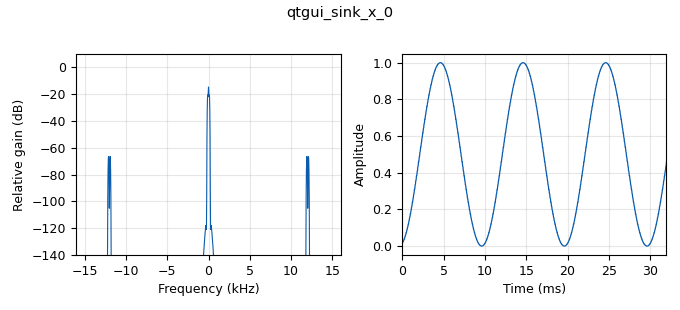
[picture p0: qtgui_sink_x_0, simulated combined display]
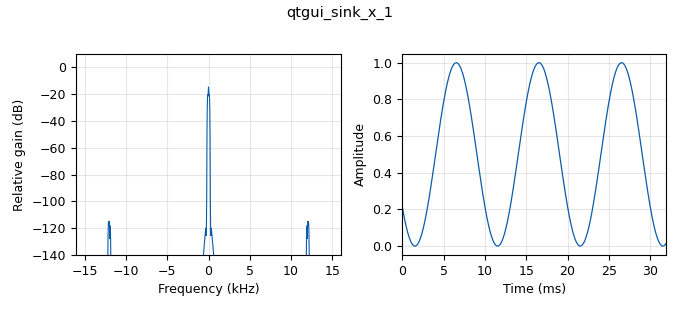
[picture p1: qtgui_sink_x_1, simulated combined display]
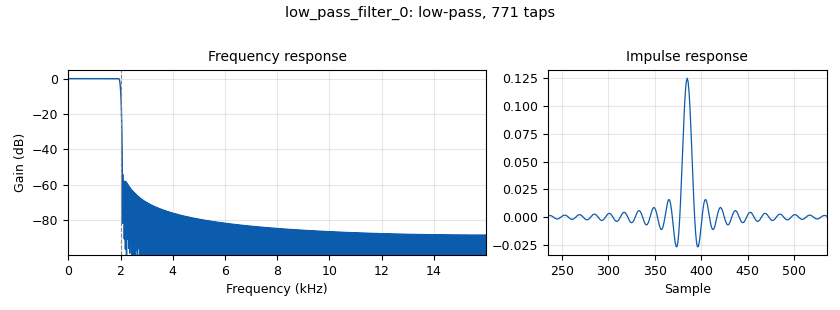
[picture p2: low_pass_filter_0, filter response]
<?xml version='1.0' encoding='utf-8'?>
<?grc format='1' created='3.7.9'?>
<flow_graph>
<block>
<key>options</key>
<param><key>id</key><value>top_block</value></param>
<param><key>generate_options</key><value>qt_gui</value></param>
</block>
<block>
<key>variable</key>
<param><key>id</key><value>samp_rate</value></param>
<param><key>value</key><value>32000</value></param>
</block>
<block>
<key>analog_sig_source_x</key>
<param><key>id</key><value>analog_sig_source_x_0</value></param>
<param><key>amp</key><value>1</value></param>
<param><key>freq</key><value>100</value></param>
<param><key>offset</key><value>0</value></param>
<param><key>type</key><value>float</value></param>
<param><key>samp_rate</key><value>samp_rate</value></param>
<param><key>waveform</key><value>analog.GR_SIN_WAVE</value></param>
</block>
<block>
<key>analog_sig_source_x</key>
<param><key>id</key><value>analog_sig_source_x_0_0</value></param>
<param><key>amp</key><value>1</value></param>
<param><key>freq</key><value>10000</value></param>
<param><key>offset</key><value>0</value></param>
<param><key>type</key><value>float</value></param>
<param><key>samp_rate</key><value>samp_rate</value></param>
<param><key>waveform</key><value>analog.GR_SIN_WAVE</value></param>
</block>
<block>
<key>analog_sig_source_x</key>
<param><key>id</key><value>analog_sig_source_x_0_0_0</value></param>
<param><key>amp</key><value>1</value></param>
<param><key>freq</key><value>10000</value></param>
<param><key>offset</key><value>0</value></param>
<param><key>type</key><value>float</value></param>
<param><key>samp_rate</key><value>samp_rate</value></param>
<param><key>waveform</key><value>analog.GR_SIN_WAVE</value></param>
</block>
<block>
<key>blocks_add_const_vxx</key>
<param><key>id</key><value>blocks_add_const_vxx_0</value></param>
<param><key>const</key><value>1</value></param>
<param><key>type</key><value>float</value></param>
</block>
<block>
<key>blocks_multiply_xx</key>
<param><key>id</key><value>blocks_multiply_xx_0</value></param>
<param><key>type</key><value>float</value></param>
</block>
<block>
<key>blocks_multiply_xx</key>
<param><key>id</key><value>blocks_multiply_xx_1</value></param>
<param><key>type</key><value>float</value></param>
</block>
<block>
<key>blocks_throttle</key>
<param><key>id</key><value>blocks_throttle_0</value></param>
<param><key>samples_per_second</key><value>samp_rate</value></param>
<param><key>type</key><value>float</value></param>
</block>
<block>
<key>epy_block</key>
<param><key>id</key><value>epy_block_0</value></param>
<param><key>_source_code</key><value>"""
Embedded Python Blocks:

Each time this file is saved, GRC will instantiate the first class it finds
to get ports and parameters of your block. The arguments to __init__  will
be the parameters. All of them are required to have default values!
"""

import numpy as np
from gnuradio import gr


class blk(gr.sync_block):  # other base classes are basic_block, decim_block, interp_block
    """Embedded Python Block example - a simple multiply const"""

    def __init__(self):  # only default arguments here
        """arguments to this function show up as parameters in GRC"""
        gr.sync_block.__init__(
            self,
            name='LPF',
            in_sig=[np.float32],
            out_sig=[np.float32]
        )

        self.set_history(8)

    def work(self, input_items, output_items):
        N = 8
        for i in range(0, len(output_items[0])):
            output_items[0][i]=(input_items[0][i+7]+input_items[0][i+6]+input_items[0][i+5]+input_items[0][i+4]+input_items[0][i+3]+input_items[0][i+2]+input_items[0][i+1]+input_items[0][i])/N

        print "length of input_items = ", len(input_items[0])
        print "length of output_items = ", len(output_items[0])
        print "len(input_items[0])-len(output_items[0]) = ", len(input_items[0])-len(output_items[0])
        return len(output_items[0])
</value></param>
</block>
<block>
<key>low_pass_filter</key>
<param><key>id</key><value>low_pass_filter_0</value></param>
<param><key>cutoff_freq</key><value>2000</value></param>
<param><key>type</key><value>interp_fir_filter_fff</value></param>
<param><key>gain</key><value>1</value></param>
<param><key>interp</key><value>1</value></param>
<param><key>samp_rate</key><value>samp_rate</value></param>
<param><key>width</key><value>100</value></param>
<param><key>win</key><value>firdes.WIN_HAMMING</value></param>
</block>
<block>
<key>qtgui_sink_x</key>
<param><key>id</key><value>qtgui_sink_x_0</value></param>
<param><key>bw</key><value>samp_rate</value></param>
<param><key>fc</key><value>0</value></param>
<param><key>freqchangevar</key><value>None</value></param>
<param><key>fftsize</key><value>1024</value></param>
<param><key>showports</key><value>True</value></param>
<param><key>type</key><value>float</value></param>
<param><key>wintype</key><value>firdes.WIN_BLACKMAN_hARRIS</value></param>
</block>
<block>
<key>qtgui_sink_x</key>
<param><key>id</key><value>qtgui_sink_x_1</value></param>
<param><key>bw</key><value>samp_rate</value></param>
<param><key>fc</key><value>0</value></param>
<param><key>freqchangevar</key><value>None</value></param>
<param><key>fftsize</key><value>1024</value></param>
<param><key>showports</key><value>True</value></param>
<param><key>type</key><value>float</value></param>
<param><key>wintype</key><value>firdes.WIN_BLACKMAN_hARRIS</value></param>
</block>
<connection><source_block_id>analog_sig_source_x_0</source_block_id><sink_block_id>blocks_add_const_vxx_0</sink_block_id><source_key>0</source_key><sink_key>0</sink_key></connection>
<connection><source_block_id>analog_sig_source_x_0_0</source_block_id><sink_block_id>blocks_multiply_xx_0</sink_block_id><source_key>0</source_key><sink_key>1</sink_key></connection>
<connection><source_block_id>analog_sig_source_x_0_0_0</source_block_id><sink_block_id>blocks_multiply_xx_1</sink_block_id><source_key>0</source_key><sink_key>1</sink_key></connection>
<connection><source_block_id>blocks_add_const_vxx_0</source_block_id><sink_block_id>blocks_multiply_xx_0</sink_block_id><source_key>0</source_key><sink_key>0</sink_key></connection>
<connection><source_block_id>blocks_multiply_xx_0</source_block_id><sink_block_id>blocks_throttle_0</sink_block_id><source_key>0</source_key><sink_key>0</sink_key></connection>
<connection><source_block_id>blocks_multiply_xx_1</source_block_id><sink_block_id>epy_block_0</sink_block_id><source_key>0</source_key><sink_key>0</sink_key></connection>
<connection><source_block_id>blocks_multiply_xx_1</source_block_id><sink_block_id>low_pass_filter_0</sink_block_id><source_key>0</source_key><sink_key>0</sink_key></connection>
<connection><source_block_id>blocks_throttle_0</source_block_id><sink_block_id>blocks_multiply_xx_1</sink_block_id><source_key>0</source_key><sink_key>0</sink_key></connection>
<connection><source_block_id>epy_block_0</source_block_id><sink_block_id>qtgui_sink_x_0</sink_block_id><source_key>0</source_key><sink_key>0</sink_key></connection>
<connection><source_block_id>low_pass_filter_0</source_block_id><sink_block_id>qtgui_sink_x_1</sink_block_id><source_key>0</source_key><sink_key>0</sink_key></connection>
</flow_graph>
